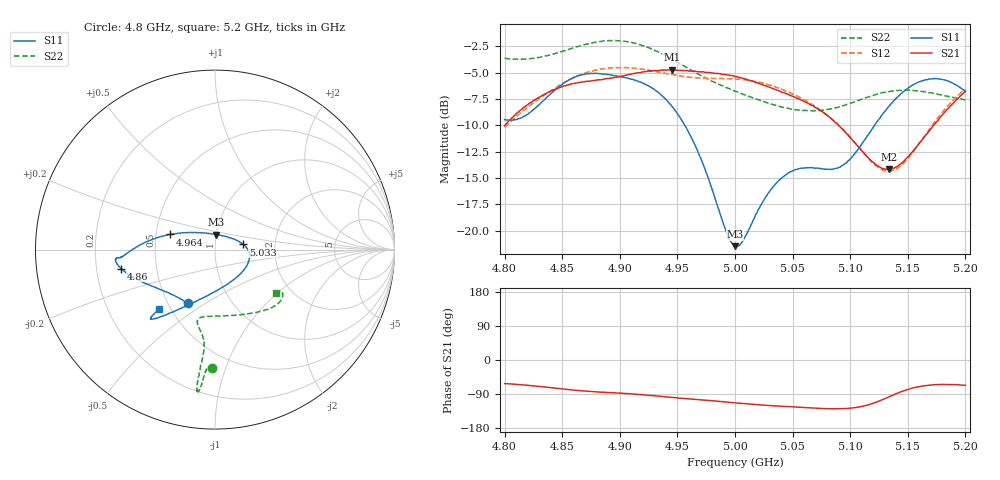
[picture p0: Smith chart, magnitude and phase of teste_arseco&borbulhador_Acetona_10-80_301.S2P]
! Network Analyzer HP8722D
! Hewlett-Packard
! Data name: Linha & Wilkinson
! Saver's name: Rodrigo Anjos
! Comments: Teste da utilização de aquisição
! continua pelo VNA HP8722D
! Time and date: 17/4/2025 16:52
!  Frequency  S11  S21  S12  S22
# HZ  S  MA R 50
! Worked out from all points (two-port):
!   401 points, 4.8 GHz to 5.2 GHz, reference 50 ohm
!   highest |S21| = -4.74 dB at 4.945 GHz (marker M1); lowest = -14.2 dB at 5.134 GHz (marker M2)
!   |S21| within 3 dB of the highest: 4.824 GHz to 5.06 GHz (235.7 MHz wide, 4.77 % of centre); 5.190842 GHz to end of sweep
!   lowest |S11| = -21.5 dB at 5 GHz (marker M3), VSWR 1.18, Z = 50.1 + j8.47 ohm
!   |S11| at or under -10 dB: 4.956 GHz to 5.121 GHz (164.8 MHz wide, 3.27 % of centre)
!   |S22| runs from -8.6 to -1.9 dB; largest |S21 - S12| = 0.87
!   S11 on the Smith chart (normalised r, x): 4.8 GHz: 0.63, -0.42; 4.86 GHz: 0.31, -0.09; 4.964 GHz: 0.59, +0.11; 5.033 GHz: 1.37, +0.08; 5.2 GHz: 0.43, -0.36
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4.8e9  0.3365 -116.8  0.3151 -62.2  0.3094 -176.6  0.6581 -91.5
4.819e9  0.3541 -137.2  0.3922 -66.5  0.3819 -176.1  0.6531 -93.1
4.86e9  0.5333 -168.5  0.4993 -79.2  0.5311 -179.5  0.7369 -95.4
4.867e9  0.549 -171.2  0.5076 -81.4  0.5521 179.2  0.7578 -95.6
4.9e9  0.5386 -175.1  0.5388 -87.3  0.5937 173.2  0.795 -97.1
4.934e9  0.4501 179.1  0.5759 -95.7  0.5662 170.0  0.7013 -97.3
4.945e9  0.3911 174.1  0.5797 -98.7  0.5515 170.2  0.6524 -97.1
4.964e9  0.2637 161.4  0.5703 -103.6  0.5332 171.9  0.5701 -96.3
4.975e9  0.1886 150.0  0.5635 -106.3  0.5289 173.1  0.5282 -96.7
4.993e9  0.09694 111.5  0.5481 -111.0  0.5271 174.3  0.4767 -98.8
5e9  0.08437 84.7  0.5389 -113.2  0.5263 174.3  0.4594 -100.1
5.006e9  0.08807 61.1  0.5304 -114.4  0.5226 173.9  0.4461 -101.5
5.033e9  0.1612 10.2  0.4728 -120.8  0.4835 173.0  0.3963 -103.3
5.049e9  0.1908 -4.9  0.4364 -123.4  0.4475 172.5  0.3772 -98.7
5.067e9  0.1991 -24.3  0.3931 -126.5  0.3969 172.1  0.3697 -88.4
5.096e9  0.2089 -74.7  0.2923 -128.0  0.293 174.8  0.3954 -65.9
5.121e9  0.315 -111.7  0.2085 -113.2  0.2066 -168.2  0.4407 -49.5
5.134e9  0.3906 -121.4  0.1953 -96.7  0.1913 -150.0  0.4574 -43.3
5.146e9  0.4556 -127.0  0.2122 -81.7  0.2078 -132.4  0.4636 -38.8
5.167e9  0.5205 -132.1  0.2892 -67.0  0.2933 -113.7  0.4536 -33.6
5.184e9  0.5146 -133.4  0.3756 -64.6  0.3871 -108.9  0.4351 -32.4
5.2e9  0.4566 -133.2  0.458 -66.9  0.468 -109.1  0.4172 -35.0
